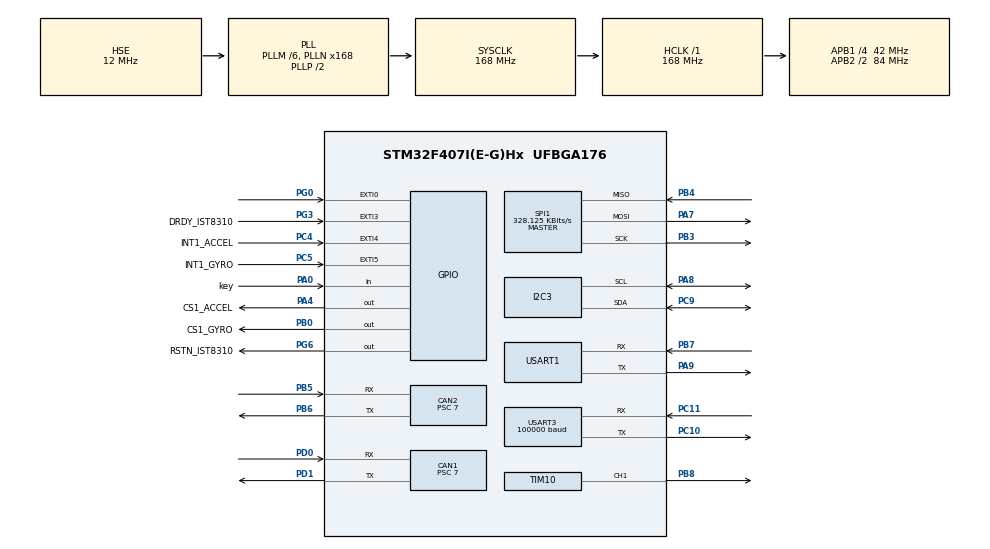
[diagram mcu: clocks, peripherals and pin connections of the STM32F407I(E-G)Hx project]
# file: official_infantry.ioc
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CAN1.ABOM=ENABLE
CAN1.AWUM=ENABLE
CAN1.BS1=CAN_BS1_3TQ
CAN1.BS2=CAN_BS2_2TQ
CAN1.CalculateBaudRate=999999
CAN1.CalculateTimeBit=1000
CAN1.CalculateTimeQuantum=166.66666666666669
CAN1.NART=ENABLE
CAN1.Prescaler=7
CAN2.ABOM=ENABLE
CAN2.AWUM=ENABLE
CAN2.BS1=CAN_BS1_3TQ
CAN2.BS2=CAN_BS2_2TQ
CAN2.CalculateBaudRate=999999
CAN2.CalculateTimeBit=1000
CAN2.CalculateTimeQuantum=166.66666666666669
CAN2.NART=ENABLE
CAN2.Prescaler=7
Dma.Request0=SPI1_RX
Dma.Request1=SPI1_TX
Dma.Request2=USART3_RX
Dma.SPI1_RX.0.Direction=DMA_PERIPH_TO_MEMORY
Dma.SPI1_RX.0.FIFOMode=DMA_FIFOMODE_DISABLE
Dma.SPI1_RX.0.Instance=DMA2_Stream2
Dma.SPI1_RX.0.MemDataAlignment=DMA_MDATAALIGN_BYTE
Dma.SPI1_RX.0.MemInc=DMA_MINC_ENABLE
Dma.SPI1_RX.0.Mode=DMA_NORMAL
Dma.SPI1_RX.0.PeriphDataAlignment=DMA_PDATAALIGN_BYTE
Dma.SPI1_RX.0.PeriphInc=DMA_PINC_DISABLE
Dma.SPI1_RX.0.Priority=DMA_PRIORITY_LOW
Dma.SPI1_TX.1.Direction=DMA_MEMORY_TO_PERIPH
Dma.SPI1_TX.1.FIFOMode=DMA_FIFOMODE_DISABLE
Dma.SPI1_TX.1.Instance=DMA2_Stream3
Dma.SPI1_TX.1.MemDataAlignment=DMA_MDATAALIGN_BYTE
Dma.SPI1_TX.1.MemInc=DMA_MINC_ENABLE
Dma.SPI1_TX.1.Mode=DMA_NORMAL
Dma.SPI1_TX.1.PeriphDataAlignment=DMA_PDATAALIGN_BYTE
Dma.SPI1_TX.1.PeriphInc=DMA_PINC_DISABLE
Dma.SPI1_TX.1.Priority=DMA_PRIORITY_LOW
Dma.USART3_RX.2.Direction=DMA_PERIPH_TO_MEMORY
Dma.USART3_RX.2.FIFOMode=DMA_FIFOMODE_DISABLE
Dma.USART3_RX.2.Instance=DMA1_Stream1
Dma.USART3_RX.2.MemDataAlignment=DMA_MDATAALIGN_BYTE
Dma.USART3_RX.2.MemInc=DMA_MINC_ENABLE
Dma.USART3_RX.2.Mode=DMA_CIRCULAR
Dma.USART3_RX.2.PeriphDataAlignment=DMA_PDATAALIGN_BYTE
Dma.USART3_RX.2.PeriphInc=DMA_PINC_DISABLE
Dma.USART3_RX.2.Priority=DMA_PRIORITY_LOW
FREERTOS.INCLUDE_eTaskGetState=1
FREERTOS.INCLUDE_pcTaskGetTaskName=1
FREERTOS.INCLUDE_uxTaskGetStackHighWaterMark=1
FREERTOS.INCLUDE_vTaskCleanUpResources=1
FREERTOS.INCLUDE_vTaskDelayUntil=1
FREERTOS.INCLUDE_xEventGroupSetBitFromISR=1
FREERTOS.INCLUDE_xQueueGetMutexHolder=1
FREERTOS.INCLUDE_xSemaphoreGetMutexHolder=1
FREERTOS.INCLUDE_xTaskAbortDelay=1
FREERTOS.INCLUDE_xTaskGetCurrentTaskHandle=1
FREERTOS.INCLUDE_xTaskGetHandle=1
FREERTOS.INCLUDE_xTimerPendFunctionCall=1
FREERTOS.Tasks01=All_Init,0,128,All_Init_Run,Default,NULL,Dynamic,NULL,NULL
FREERTOS.configTOTAL_HEAP_SIZE=24576
FREERTOS.configUSE_TIMERS=1
I2C3.I2C_Mode=I2C_Fast
Mcu.Family=STM32F4
Mcu.Name=STM32F407I(E-G)Hx
Mcu.Package=UFBGA176
NVIC.CAN1_RX0_IRQn=true\:5\:0\:false\:false\:true\:true\:true\:true\:true
NVIC.CAN2_RX0_IRQn=true\:5\:0\:false\:false\:true\:true\:true\:true\:true
NVIC.DMA1_Stream1_IRQn=true\:5\:0\:false\:false\:true\:true\:false\:true\:true
NVIC.DMA2_Stream2_IRQn=true\:5\:0\:false\:false\:true\:true\:false\:true\:true
NVIC.DMA2_Stream3_IRQn=true\:5\:0\:false\:false\:true\:true\:false\:true\:true
NVIC.EXTI0_IRQn=true\:6\:0\:true\:false\:true\:false\:true\:true\:true
NVIC.EXTI3_IRQn=true\:5\:0\:false\:false\:true\:true\:true\:true\:true
NVIC.EXTI4_IRQn=true\:5\:0\:false\:false\:true\:true\:true\:true\:true
NVIC.EXTI9_5_IRQn=true\:5\:0\:false\:false\:true\:true\:true\:true\:true
NVIC.PriorityGroup=NVIC_PRIORITYGROUP_4
NVIC.TIM6_DAC_IRQn=true\:15\:0\:false\:false\:true\:false\:false\:true\:true
NVIC.TimeBase=TIM6_DAC_IRQn
NVIC.TimeBaseIP=TIM6
NVIC.USART3_IRQn=true\:5\:0\:false\:false\:true\:true\:true\:true\:true
PA0-WKUP.GPIO_Label=key
PA0-WKUP.GPIO_PuPd=GPIO_PULLUP
PA0-WKUP.Signal=GPIO_Input
PA13.Mode=Serial_Wire
PA13.Signal=SYS_JTMS-SWDIO
PA14.Mode=Serial_Wire
PA14.Signal=SYS_JTCK-SWCLK
PA4.GPIO_Label=CS1_ACCEL
PA4.GPIO_PuPd=GPIO_PULLUP
PA4.GPIO_Speed=GPIO_SPEED_FREQ_HIGH
PA4.PinState=GPIO_PIN_SET
PA4.Signal=GPIO_Output
PA7.Mode=Full_Duplex_Master
PA7.Signal=SPI1_MOSI
PA8.Mode=I2C
PA8.Signal=I2C3_SCL
PA9.Mode=Asynchronous
PA9.Signal=USART1_TX
PB0.GPIO_Label=CS1_GYRO
PB0.GPIO_PuPd=GPIO_PULLUP
PB0.GPIO_Speed=GPIO_SPEED_FREQ_HIGH
PB0.PinState=GPIO_PIN_SET
PB0.Signal=GPIO_Output
PB3.Mode=Full_Duplex_Master
PB3.Signal=SPI1_SCK
PB4.Mode=Full_Duplex_Master
PB4.Signal=SPI1_MISO
PB5.Mode=CAN_Activate
PB5.Signal=CAN2_RX
PB6.Mode=CAN_Activate
PB6.Signal=CAN2_TX
PB7.Mode=Asynchronous
PB7.Signal=USART1_RX
PB8.GPIO_PuPd=GPIO_PULLUP
PB8.GPIO_Speed=GPIO_SPEED_FREQ_HIGH
PB8.Signal=S_TIM10_CH1
PC10.Mode=Asynchronous
PC10.Signal=USART3_TX
PC11.Mode=Asynchronous
PC11.Signal=USART3_RX
PC4.GPIO_Label=INT1_ACCEL
PC4.GPIO_PuPd=GPIO_PULLUP
PC4.Signal=GPXTI4
PC5.GPIO_Label=INT1_GYRO
PC5.GPIO_PuPd=GPIO_PULLUP
PC5.Signal=GPXTI5
PC9.Mode=I2C
PC9.Signal=I2C3_SDA
PD0.Mode=CAN_Activate
PD0.Signal=CAN1_RX
PD1.Mode=CAN_Activate
PD1.Signal=CAN1_TX
PG0.GPIO_PuPd=GPIO_PULLUP
PG0.Signal=GPXTI0
PG3.GPIO_Label=DRDY_IST8310
PG3.GPIO_PuPd=GPIO_PULLUP
PG3.Signal=GPXTI3
PG6.GPIO_Label=RSTN_IST8310
PG6.GPIO_PuPd=GPIO_PULLUP
PG6.GPIO_Speed=GPIO_SPEED_FREQ_MEDIUM
PG6.PinState=GPIO_PIN_SET
PG6.Signal=GPIO_Output
PH0-OSC_IN.Mode=HSE-External-Oscillator
PH0-OSC_IN.Signal=RCC_OSC_IN
PH1-OSC_OUT.Mode=HSE-External-Oscillator
PH1-OSC_OUT.Signal=RCC_OSC_OUT
ProjectManager.HeapSize=0x2000
ProjectManager.StackSize=0x2000
ProjectManager.TargetToolchain=MDK-ARM V5.32
RCC.48MHZClocksFreq_Value=84000000
RCC.AHBFreq_Value=168000000
RCC.APB1CLKDivider=RCC_HCLK_DIV4
RCC.APB1Freq_Value=42000000
RCC.APB1TimFreq_Value=84000000
RCC.APB2CLKDivider=RCC_HCLK_DIV2
RCC.APB2Freq_Value=84000000
RCC.APB2TimFreq_Value=168000000
RCC.CortexFreq_Value=168000000
RCC.HCLKFreq_Value=168000000
RCC.HSE_VALUE=12000000
RCC.HSI_VALUE=16000000
RCC.LSE_VALUE=32768
RCC.PLLM=6
RCC.PLLN=168
RCC.PLLSourceVirtual=RCC_PLLSOURCE_HSE
RCC.SYSCLKFreq_VALUE=168000000
RCC.SYSCLKSource=RCC_SYSCLKSOURCE_PLLCLK
RCC.VCOOutputFreq_Value=336000000
SH.S_TIM10_CH1.0=TIM10_CH1,PWM Generation1 CH1
SPI1.BaudRatePrescaler=SPI_BAUDRATEPRESCALER_256
SPI1.CLKPhase=SPI_PHASE_2EDGE
SPI1.CalculateBaudRate=328.125 KBits/s
SPI1.Direction=SPI_DIRECTION_2LINES
SPI1.Mode=SPI_MODE_MASTER
SPI1.VirtualType=VM_MASTER
TIM10.Channel=TIM_CHANNEL_1
TIM10.Period=5000-1
USART1.VirtualMode=VM_ASYNC
USART3.BaudRate=100000
USART3.VirtualMode=VM_ASYNC
VP_FREERTOS_VS_CMSIS_V1.Mode=CMSIS_V1
VP_SYS_VS_tim6.Mode=TIM6
VP_TIM10_VS_ClockSourceINT.Mode=Enable_Timer
board=custom

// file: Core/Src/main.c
/* USER CODE BEGIN Header */
/**
  ******************************************************************************
  * @file           : main.c
  * @brief          : Main program body
  ******************************************************************************
  * @attention
  *
  * Copyright (c) 2024 STMicroelectronics.
  * All rights reserved.
  *
  * This software is licensed under terms that can be found in the LICENSE file
  * in the root directory of this software component.
  * If no LICENSE file comes with this software, it is provided AS-IS.
  *
  ******************************************************************************
  */
/* USER CODE END Header */
#include "main.h"
#include "cmsis_os.h"
#include "can.h"
#include "dma.h"
#include "i2c.h"
#include "spi.h"
#include "tim.h"
#include "usart.h"
#include "gpio.h"

void SystemClock_Config(void);
void MX_FREERTOS_Init(void);

int main(void)
{

  /* MCU Configuration--------------------------------------------------------*/

  /* Reset of all peripherals, Initializes the Flash interface and the Systick. */
  HAL_Init();

  /* Configure the system clock */
  SystemClock_Config();

  /* Initialize all configured peripherals */
  MX_GPIO_Init();
  MX_DMA_Init();
  MX_CAN1_Init();
  MX_CAN2_Init();
  MX_I2C3_Init();
  MX_SPI1_Init();
  MX_USART3_UART_Init();
  MX_TIM10_Init();
  MX_USART1_UART_Init();

  /* Call init function for freertos objects (in freertos.c) */
  MX_FREERTOS_Init();

  /* Start scheduler */
  osKernelStart();
  /* We should never get here as control is now taken by the scheduler */
  /* Infinite loop */
  while (1)
  {

  }
}

void SystemClock_Config(void)
{
  RCC_OscInitTypeDef RCC_OscInitStruct = {0};
  RCC_ClkInitTypeDef RCC_ClkInitStruct = {0};

  /** Configure the main internal regulator output voltage
  */
  __HAL_RCC_PWR_CLK_ENABLE();
  __HAL_PWR_VOLTAGESCALING_CONFIG(PWR_REGULATOR_VOLTAGE_SCALE1);

  /** Initializes the RCC Oscillators according to the specified parameters
  * in the RCC_OscInitTypeDef structure.
  */
  RCC_OscInitStruct.OscillatorType = RCC_OSCILLATORTYPE_HSE;
  RCC_OscInitStruct.HSEState = RCC_HSE_ON;
  RCC_OscInitStruct.PLL.PLLState = RCC_PLL_ON;
  RCC_OscInitStruct.PLL.PLLSource = RCC_PLLSOURCE_HSE;
  RCC_OscInitStruct.PLL.PLLM = 6;
  RCC_OscInitStruct.PLL.PLLN = 168;
  RCC_OscInitStruct.PLL.PLLP = RCC_PLLP_DIV2;
  RCC_OscInitStruct.PLL.PLLQ = 4;
  if (HAL_RCC_OscConfig(&RCC_OscInitStruct) != HAL_OK)
  {
    Error_Handler();
  }

  /** Initializes the CPU, AHB and APB buses clocks
  */
  RCC_ClkInitStruct.ClockType = RCC_CLOCKTYPE_HCLK|RCC_CLOCKTYPE_SYSCLK
                              |RCC_CLOCKTYPE_PCLK1|RCC_CLOCKTYPE_PCLK2;
  RCC_ClkInitStruct.SYSCLKSource = RCC_SYSCLKSOURCE_PLLCLK;
  RCC_ClkInitStruct.AHBCLKDivider = RCC_SYSCLK_DIV1;
  RCC_ClkInitStruct.APB1CLKDivider = RCC_HCLK_DIV4;
  RCC_ClkInitStruct.APB2CLKDivider = RCC_HCLK_DIV2;

  if (HAL_RCC_ClockConfig(&RCC_ClkInitStruct, FLASH_LATENCY_5) != HAL_OK)
  {
    Error_Handler();
  }
}

void HAL_TIM_PeriodElapsedCallback(TIM_HandleTypeDef *htim)
{
  if (htim->Instance == TIM6) {
    HAL_IncTick();
  }
}

void Error_Handler(void)
{
  __disable_irq();
  while (1)
  {
  }
}

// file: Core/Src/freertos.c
/* USER CODE BEGIN Header */
/**
  ******************************************************************************
  * File Name          : freertos.c
  * Description        : Code for freertos applications
  ******************************************************************************
  * @attention
  *
  * Copyright (c) 2024 STMicroelectronics.
  * All rights reserved.
  *
  * This software is licensed under terms that can be found in the LICENSE file
  * in the root directory of this software component.
  * If no LICENSE file comes with this software, it is provided AS-IS.
  *
  ******************************************************************************
  */
/* USER CODE END Header */

#include "FreeRTOS.h"
#include "task.h"
#include "main.h"
#include "cmsis_os.h"

/* USER CODE BEGIN Includes */
#include "pid.h"
#include "dr16.h"
#include "M6020_motor.h"
#include "bsp_delay.h"
#include "bsp_can.h"
#include "INS_task.h"
#include "calibrate_task.h"
#include "IMU_Send_task.h"
#include "Task_CanMsg.h"
#include "Robot_control_task.h"
/* USER CODE END Includes */

/* USER CODE BEGIN PTD */
osThreadId calibrate_tast_handle;
osThreadId imuTaskHandle;
osThreadId RobotCtrl_Handle;

/* USER CODE END PTD */

/* USER CODE BEGIN Variables */
osMessageQId CAN2_Queue;
osMessageQId CAN1_ReceiveHandle;
osMessageQId CAN2_ReceiveHandle;
osThreadId IMU_Send_TaskHandle;

osMessageQId CAN1_ReceiveHandle;
osMessageQId CAN2_ReceiveHandle;

osThreadId CAN1_TaskHandle;
osThreadId CAN2_TaskHandle;
/* USER CODE END Variables */
osThreadId All_InitHandle;

/* USER CODE BEGIN FunctionPrototypes */
extern void IMU_Send(void const * argument);
extern void Robot_Control(void const *argument);
extern void CAN1_REC(void const * argument);
extern void CAN2_REC(void const * argument);
/* USER CODE END FunctionPrototypes */

void All_Init_Run(void const * argument);

void MX_FREERTOS_Init(void); /* (MISRA C 2004 rule 8.1) */

/* GetIdleTaskMemory prototype (linked to static allocation support) */
void vApplicationGetIdleTaskMemory( StaticTask_t **ppxIdleTaskTCBBuffer, StackType_t **ppxIdleTaskStackBuffer, uint32_t *pulIdleTaskStackSize );

/* GetTimerTaskMemory prototype (linked to static allocation support) */
void vApplicationGetTimerTaskMemory( StaticTask_t **ppxTimerTaskTCBBuffer, StackType_t **ppxTimerTaskStackBuffer, uint32_t *pulTimerTaskStackSize );

/* USER CODE BEGIN GET_IDLE_TASK_MEMORY */
static StaticTask_t xIdleTaskTCBBuffer;
static StackType_t xIdleStack[configMINIMAL_STACK_SIZE];

void vApplicationGetIdleTaskMemory( StaticTask_t **ppxIdleTaskTCBBuffer, StackType_t **ppxIdleTaskStackBuffer, uint32_t *pulIdleTaskStackSize )
{
  *ppxIdleTaskTCBBuffer = &xIdleTaskTCBBuffer;
  *ppxIdleTaskStackBuffer = &xIdleStack[0];
  *pulIdleTaskStackSize = configMINIMAL_STACK_SIZE;
  /* place for user code */
}
/* USER CODE END GET_IDLE_TASK_MEMORY */

/* USER CODE BEGIN GET_TIMER_TASK_MEMORY */
static StaticTask_t xTimerTaskTCBBuffer;
static StackType_t xTimerStack[configTIMER_TASK_STACK_DEPTH];

void vApplicationGetTimerTaskMemory( StaticTask_t **ppxTimerTaskTCBBuffer, StackType_t **ppxTimerTaskStackBuffer, uint32_t *pulTimerTaskStackSize )
{
  *ppxTimerTaskTCBBuffer = &xTimerTaskTCBBuffer;
  *ppxTimerTaskStackBuffer = &xTimerStack[0];
  *pulTimerTaskStackSize = configTIMER_TASK_STACK_DEPTH;
  /* place for user code */
}
/* USER CODE END GET_TIMER_TASK_MEMORY */

void MX_FREERTOS_Init(void) {

  /* USER CODE BEGIN RTOS_QUEUES */
  /* add queues, ... */

	osMessageQDef(CAN1_Receive, 64, Can_Export_Data_t);
  CAN1_ReceiveHandle = osMessageCreate(osMessageQ(CAN1_Receive), NULL);

	osMessageQDef(CAN2_Receive, 64, Can_Export_Data_t);
  CAN2_ReceiveHandle = osMessageCreate(osMessageQ(CAN2_Receive), NULL);
  /* USER CODE END RTOS_QUEUES */

  /* Create the thread(s) */
  /* definition and creation of All_Init */
  osThreadDef(All_Init, All_Init_Run, osPriorityNormal, 0, 128);
  All_InitHandle = osThreadCreate(osThread(All_Init), NULL);

  /* USER CODE BEGIN RTOS_THREADS */
  /* add threads, ... */

	osThreadDef(IMU_Send_Task, IMU_Send, osPriorityHigh, 0, 128);
  IMU_Send_TaskHandle = osThreadCreate(osThread(IMU_Send_Task), NULL);

	osThreadDef(CAN1_Task, CAN1_REC, osPriorityHigh, 0, 256);
  CAN1_TaskHandle = osThreadCreate(osThread(CAN1_Task), NULL);

	osThreadDef(CAN2_Task, CAN2_REC, osPriorityHigh, 0, 256);
  CAN2_TaskHandle = osThreadCreate(osThread(CAN2_Task), NULL);

	osThreadDef(cali, calibrate_task, osPriorityAboveNormal, 0, 512);
  calibrate_tast_handle = osThreadCreate(osThread(cali), NULL);

	osThreadDef(imuTask, INS_task, osPriorityRealtime, 0, 1024);
  imuTaskHandle = osThreadCreate(osThread(imuTask), NULL);

	osThreadDef(Task_Robot_Control, Robot_Control, osPriorityRealtime, 0, 512);
	RobotCtrl_Handle = osThreadCreate(osThread(Task_Robot_Control), NULL);
  /* USER CODE END RTOS_THREADS */

}

void All_Init_Run(void const * argument)
{
  /* USER CODE BEGIN All_Init_Run */

	taskENTER_CRITICAL();  //进入临界区
	delay_init();
	cali_param_init();
	CAN_1_Filter_Config();
	CAN_2_Filter_Config();
	__HAL_CAN_ENABLE_IT(&hcan1, CAN_IT_RX_FIFO0_MSG_PENDING); //  CAN_IT_FMP0
	__HAL_CAN_ENABLE_IT(&hcan2, CAN_IT_RX_FIFO0_MSG_PENDING); //  CAN_IT_FMP0
	motor_pid_init();   //电机pid初始化

	taskEXIT_CRITICAL();   //退出临界区
	vTaskDelete(NULL);

  /* USER CODE END All_Init_Run */
}
